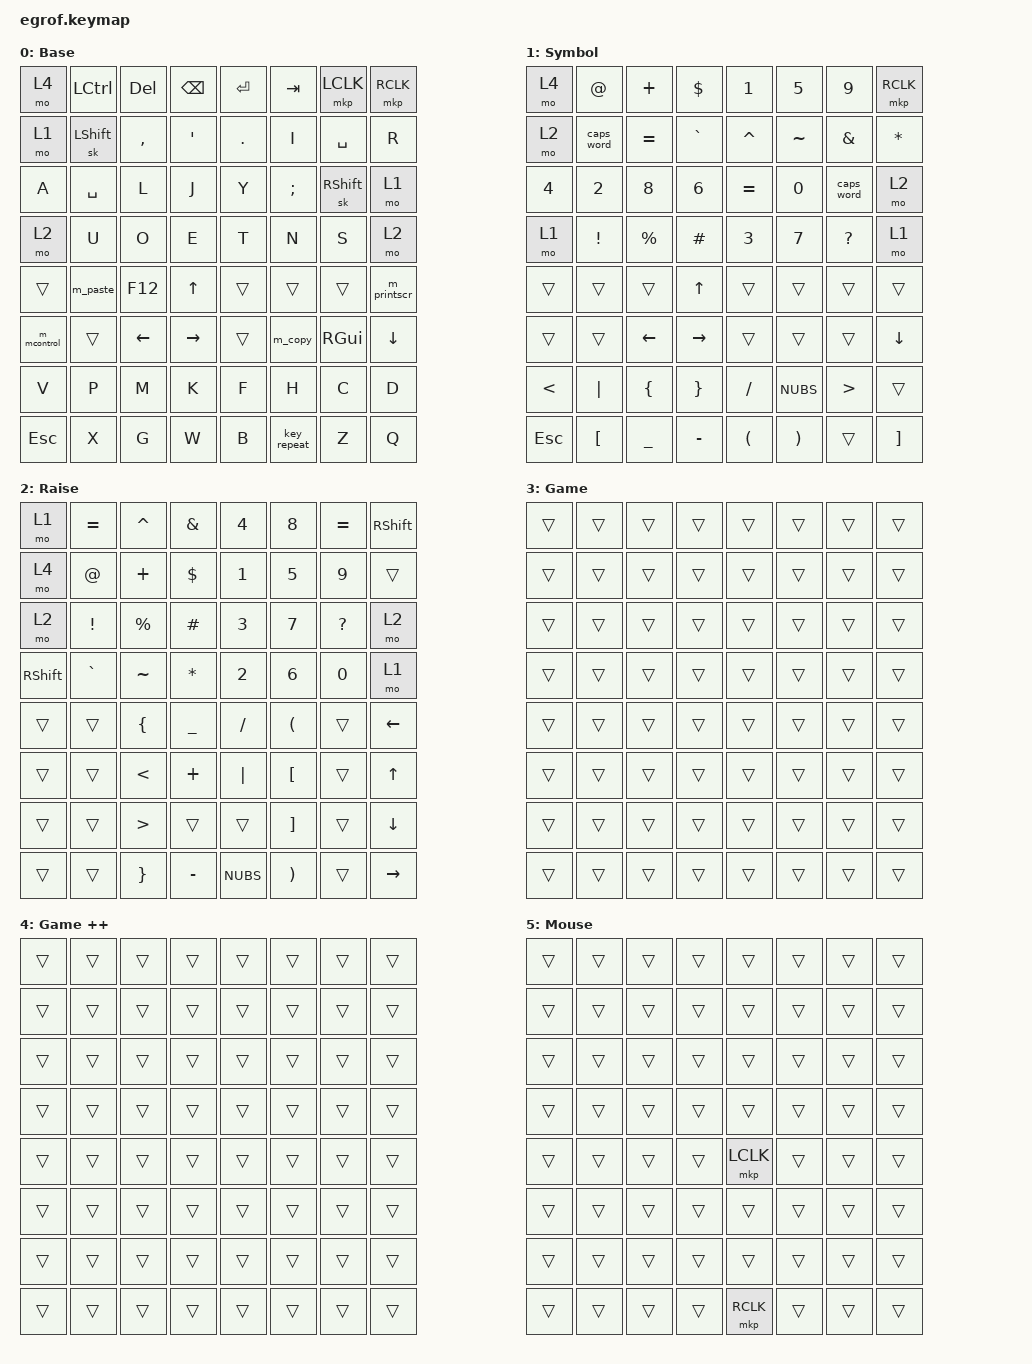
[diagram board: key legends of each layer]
#include <behaviors.dtsi>
#include <dt-bindings/zmk/keys.h>
#include <dt-bindings/zmk/bt.h>
#include <dt-bindings/zmk/ext_power.h>
#include <dt-bindings/zmk/mouse.h>
#include <dt-bindings/zmk/outputs.h>

/ {
    trackball_listener {
        compatible = "zmk,input-behavior-listener";
        device = <&vtrackball>;
        layers = <0 2 3 4 5>;
        evt-type = <INPUT_EV_REL>;
        x-input-code = <INPUT_REL_X>;
        y-input-code = <INPUT_REL_Y>;
        scale-multiplier = <1>;
        scale-divisor = <4>;
        bindings = <&ib_toggle_layer 5>;
    };

    trackball_snipe_listener {
        compatible = "zmk,input-behavior-listener";   
        device = <&vtrackball>;
        layers = <>;
        evt-type = <INPUT_EV_REL>;
        x-input-code = <INPUT_REL_X>;
        y-input-code = <INPUT_REL_Y>;
        scale-multiplier = <1>;
        scale-divisor = <12>;
    };

    trackball_scroll_listener {
        compatible = "zmk,input-behavior-listener";
        device = <&vtrackball>;
        layers = <1>;
        evt-type = <INPUT_EV_REL>;            
        x-input-code = <INPUT_REL_MISC>;
        y-input-code = <INPUT_REL_WHEEL>;
        y-invert;
        bindings = <&ib_wheel_scaler 1 16>;
    };

    ib_wheel_scaler: ib_wheel_scaler {
        compatible = "zmk,input-behavior-scaler";
        #binding-cells = <2>;
        evt-type = <INPUT_EV_REL>;
        input-code = <INPUT_REL_WHEEL>;
    };

    ib_toggle_layer: ib_toggle_layer {
        compatible = "zmk,input-behavior-tog-layer";
        #binding-cells = <1>;
        time-to-live-ms = <750>;
    };

    behaviors {
        lt: layer_tap {
            compatible = "zmk,behavior-hold-tap";
            #binding-cells = <2>;
            flavor = "balanced";
            tapping-term-ms = <240>;
            quick-tap-ms = <150>;
            bindings = 
                <&mo>,
                <&kp>;
        };
    };

    macros {
        m_copy: m_copy {
            compatible = "zmk,behavior-macro";
            #binding-cells = <0>;
            bindings
                = <&macro_press &kp LGUI>
                , <&macro_tap &kp C>
                , <&macro_release &kp LGUI>
                ;
        };
        m_paste: m_paste {
            compatible = "zmk,behavior-macro";
            #binding-cells = <0>;
            bindings
                = <&macro_press &kp LGUI>
                , <&macro_tap &kp V>
                , <&macro_release &kp LGUI>
                ;
        };
        m_mcontrol: m_mcontrol {
            compatible = "zmk,behavior-macro";
            #binding-cells = <0>;
            bindings
                = <&macro_press &kp LCTRL>
                , <&macro_tap &kp UP>
                , <&macro_release &kp LCTRL>
                ;
        };
        m_printscr: m_printscr {
            compatible = "zmk,behavior-macro";
            #binding-cells = <0>;
            bindings
                = <&macro_press &kp LGUI>
                , <&macro_press &kp LSHIFT>
                , <&macro_tap &kp N5>
                , <&macro_release &kp LGUI>
                , <&macro_release &kp LSHIFT>
                ;
        };
    };

    keymap {
        compatible = "zmk,keymap";

        Base {
            label = "Base";
            bindings = <
    &mo 4                   &kp LCTRL               &kp DEL              &kp BSPC                 &kp RET                &kp TAB                &mkp LCLK                   &mkp RCLK           
&mo 1   &sk LSHIFT  &kp COMMA       &kp APOS  &kp DOT     &kp I  &kp SPACE     &kp R          &kp A     &kp SPACE    &kp L       &kp J      &kp Y      &kp SEMI    &sk RSHIFT       &mo 1
	&mo 2                   &kp U                   &kp O                &kp E                    &kp T                  &kp N                  &kp S                       &mo 2      

                            &trans                  &m_paste                                                             &kp F12                &kp UP                          
	                   &trans    &trans        &trans    &m_printscr                                           &m_mcontrol      &trans   &kp LEFT      &kp RIGHT  
	                        &trans                  &m_copy                                                              &kp RGUI               &kp DOWN                    

                                                                         &kp V                    &kp P                                     
	                                                                 &kp M   &kp K            &kp F   &kp H   
	                                                                     &kp C                    &kp D                        

                                                                         &kp ESC                  &kp X                                     
	                                                                 &kp G     &kp W          &kp B   &key_repeat   
	                                                                     &kp Z                    &kp Q                        
            >;
        };

        Symbol {
            label = "Symbol";
            bindings = <
    &mo 4                   &kp AT                    &kp PLUS                  &kp DLLR                      &kp N1              &kp N5               &kp N9                     &mkp RCLK           
&mo 2   &caps_word  &kp EQUAL      &kp GRAVE  &kp CARET       &kp TILDE  &kp AMPS      &kp STAR          &kp N4     &kp N2   &kp N8    &kp N6   &kp EQUAL     &kp N0     &caps_word       &mo 2
	&mo 1                   &kp EXCL                  &kp PRCNT                 &kp HASH                      &kp N3              &kp N7               &kp QMARK                  &mo 1      

                            &trans                    &trans                                                                      &trans               &kp UP                          
	                   &trans    &trans          &trans    &trans                                                            &trans    &trans   &kp LEFT      &kp RIGHT  
	                        &trans                    &trans                                                                      &trans               &kp DOWN                    

                                                                                &kp LT                        &kp PIPE                                     
	                                                                     &kp LBRC    &kp RBRC          &kp FSLH      &kp NUBS   
	                                                                            &kp GT                        &trans                        

                                                                                &kp ESC                       &kp LBKT                                     
	                                                                    &kp UNDER     &kp MINUS        &kp LPAR      &kp RPAR   
	                                                                            &trans                        &kp RBKT                        
            >;
        };

        Raise {
            label = "Raise";
            bindings = <
&mo 1       &kp EQUAL  &kp CARET  &kp AMPS      &kp N4    &kp N8     &kp EQUAL  &kp RSHIFT
&mo 4       &kp AT     &kp PLUS   &kp DLLR      &kp N1    &kp N5     &kp N9     &trans
&mo 2       &kp EXCL   &kp PRCNT  &kp HASH      &kp N3    &kp N7     &kp QMARK  &mo 2
&kp RSHIFT  &kp GRAVE  &kp TILDE  &kp STAR      &kp N2    &kp N6     &kp N0     &mo 1
&trans      &trans     &kp LBRC   &kp UNDER     &kp FSLH  &kp LPAR   &trans     &kp LEFT
&trans      &trans     &kp LT     &kp PLUS      &kp PIPE  &kp LBKT   &trans     &kp UP
&trans      &trans     &kp GT     &trans        &trans    &kp RBKT   &trans     &kp DOWN
&trans      &trans     &kp RBRC   &kp MINUS     &kp NUBS  &kp RPAR   &trans     &kp RIGHT
            >;
        };

        Game {
            label = "Game";
            bindings = <
&trans  &trans  &trans  &trans     &trans  &trans  &trans  &trans
&trans  &trans  &trans  &trans     &trans  &trans  &trans  &trans
&trans  &trans  &trans  &trans     &trans  &trans  &trans  &trans
&trans  &trans  &trans  &trans     &trans  &trans  &trans  &trans
&trans  &trans  &trans  &trans     &trans  &trans  &trans  &trans
&trans  &trans  &trans  &trans     &trans  &trans  &trans  &trans
&trans  &trans  &trans  &trans     &trans  &trans  &trans  &trans
&trans  &trans  &trans  &trans     &trans  &trans  &trans  &trans
            >;
        };

        Game_++ {
            label = "Game ++";
            bindings = <
&trans  &trans  &trans  &trans     &trans  &trans  &trans  &trans
&trans  &trans  &trans  &trans     &trans  &trans  &trans  &trans
&trans  &trans  &trans  &trans     &trans  &trans  &trans  &trans
&trans  &trans  &trans  &trans     &trans  &trans  &trans  &trans
&trans  &trans  &trans  &trans     &trans  &trans  &trans  &trans
&trans  &trans  &trans  &trans     &trans  &trans  &trans  &trans
&trans  &trans  &trans  &trans     &trans  &trans  &trans  &trans
&trans  &trans  &trans  &trans     &trans  &trans  &trans  &trans
            >;
        };

        Mouse {
            bindings = <
&trans  &trans  &trans  &trans     &trans     &trans  &trans  &trans
&trans  &trans  &trans  &trans     &trans     &trans  &trans  &trans
&trans  &trans  &trans  &trans     &trans     &trans  &trans  &trans
&trans  &trans  &trans  &trans     &trans     &trans  &trans  &trans
&trans  &trans  &trans  &trans     &mkp LCLK  &trans  &trans  &trans
&trans  &trans  &trans  &trans     &trans     &trans  &trans  &trans
&trans  &trans  &trans  &trans     &trans     &trans  &trans  &trans
&trans  &trans  &trans  &trans     &mkp RCLK  &trans  &trans  &trans
            >;
        };
    };
};
